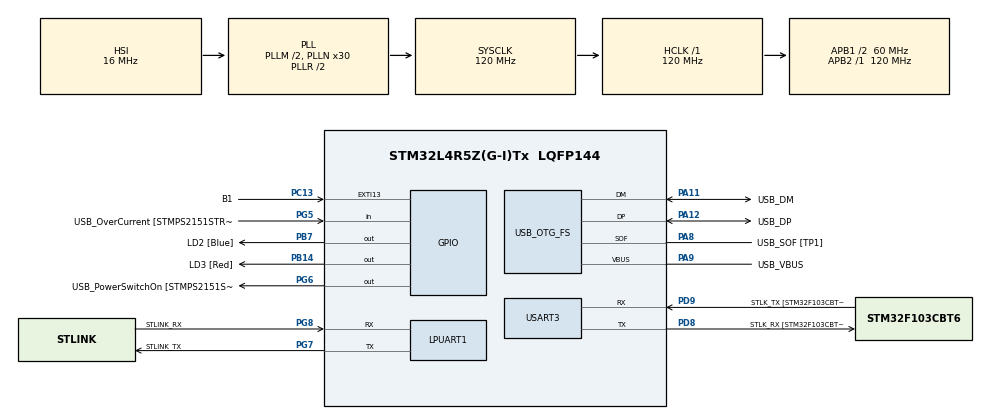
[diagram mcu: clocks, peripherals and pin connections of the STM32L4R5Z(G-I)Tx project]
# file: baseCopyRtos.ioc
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FREERTOS.Tasks01=defaultTask,24,128,StartDefaultTask,Default,NULL,Dynamic,NULL,NULL
Mcu.Family=STM32L4
Mcu.Name=STM32L4R5Z(G-I)Tx
Mcu.Package=LQFP144
NVIC.PriorityGroup=NVIC_PRIORITYGROUP_4
NVIC.TIM1_UP_TIM16_IRQn=true\:15\:0\:false\:false\:true\:false\:false\:true\:true
NVIC.TimeBase=TIM1_UP_TIM16_IRQn
NVIC.TimeBaseIP=TIM1
PA10.GPIO_Label=USB_ID
PA10.Signal=USB_OTG_FS_ID
PA11.GPIO_Label=USB_DM
PA11.Mode=Device_Only
PA11.Signal=USB_OTG_FS_DM
PA12.GPIO_Label=USB_DP
PA12.Mode=Device_Only
PA12.Signal=USB_OTG_FS_DP
PA13\ (JTMS/SWDIO).GPIO_Label=TMS
PA13\ (JTMS/SWDIO).Mode=Serial_Wire
PA13\ (JTMS/SWDIO).Signal=SYS_JTMS-SWDIO
PA14\ (JTCK/SWCLK).GPIO_Label=TCK
PA14\ (JTCK/SWCLK).Mode=Serial_Wire
PA14\ (JTCK/SWCLK).Signal=SYS_JTCK-SWCLK
PA8.GPIO_Label=USB_SOF [TP1]
PA8.Mode=Activate_SOF_FS
PA8.Signal=USB_OTG_FS_SOF
PA9.GPIO_Label=USB_VBUS
PA9.Mode=Activate_VBUS
PA9.Signal=USB_OTG_FS_VBUS
PB14.GPIO_Label=LD3 [Red]
PB14.Signal=GPIO_Output
PB3\ (JTDO/TRACESWO).GPIO_Label=SWO
PB3\ (JTDO/TRACESWO).Signal=SYS_JTDO-SWO
PB7.GPIO_Label=LD2 [Blue]
PB7.Signal=GPIO_Output
PC13.GPIO_Label=B1
PC13.Signal=GPXTI13
PC14-OSC32_IN\ (PC14).Signal=RCC_OSC32_IN
PC15-OSC32_OUT\ (PC15).Signal=RCC_OSC32_OUT
PD8.GPIO_Label=STLK_RX [STM32F103CBT6_PA3]
PD8.Mode=Asynchronous
PD8.Signal=USART3_TX
PD9.GPIO_Label=STLK_TX [STM32F103CBT6_PA2]
PD9.Mode=Asynchronous
PD9.Signal=USART3_RX
PG5.GPIO_Label=USB_OverCurrent [STMPS2151STR_FAULT]
PG5.Signal=GPIO_Input
PG6.GPIO_Label=USB_PowerSwitchOn [STMPS2151STR_EN]
PG6.Signal=GPIO_Output
PG7.GPIO_Label=STLINK_TX
PG7.Mode=Asynchronous
PG7.Signal=LPUART1_TX
PG8.GPIO_Label=STLINK_RX
PG8.Mode=Asynchronous
PG8.Signal=LPUART1_RX
PH0-OSC_IN\ (PH0).Signal=RCC_OSC_IN
PH1-OSC_OUT\ (PH1).Signal=RCC_OSC_OUT
ProjectManager.HeapSize=0x200
ProjectManager.StackSize=0x400
ProjectManager.TargetToolchain=STM32CubeIDE
RCC.48MHZClocksFreq_Value=24000000
RCC.ADCFreq_Value=96000000
RCC.AHBFreq_Value=120000000
RCC.APB1CLKDivider=RCC_HCLK_DIV2
RCC.APB1Freq_Value=60000000
RCC.APB1TimFreq_Value=120000000
RCC.APB2Freq_Value=120000000
RCC.APB2TimFreq_Value=120000000
RCC.CK48CLockSelection=RCC_USBCLKSOURCE_HSI48
RCC.CortexFreq_Value=120000000
RCC.HCLKFreq_Value=120000000
RCC.HSE_VALUE=8000000
RCC.HSI48_VALUE=48000000
RCC.HSI_VALUE=16000000
RCC.LSE_VALUE=32768
RCC.MSI_VALUE=4000000
RCC.PLLM1=2
RCC.PLLMUL=RCC_PLL_MUL9
RCC.PLLN=30
RCC.PLLSAI1N=12
RCC.PLLSourceVirtual=RCC_PLLSOURCE_HSI
RCC.PRESCALERUSB=RCC_USBCLKSOURCE_PLL_DIV1_5
RCC.SYSCLKFreq_VALUE=120000000
RCC.SYSCLKSource=RCC_SYSCLKSOURCE_PLLCLK
RCC.SYSCLKSourceVirtual=RCC_SYSCLKSOURCE_PLLCLK
RCC.USBFreq_Value=48000000
RCC.VCOOutputFreq_Value=240000000
USART3.VirtualMode-Asynchronous=VM_ASYNC
USB_OTG_FS.VirtualMode=Device_Only
VP_FREERTOS_VS_CMSIS_V2.Mode=CMSIS_V2
VP_SYS_VS_tim1.Mode=TIM1
board=NUCLEO-L4R5ZI

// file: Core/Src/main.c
/* USER CODE BEGIN Header */
/**
  ******************************************************************************
  * @file           : main.c
  * @brief          : Main program body
  ******************************************************************************
  * @attention
  *
  * Copyright (c) 2026 STMicroelectronics.
  * All rights reserved.
  *
  * This software is licensed under terms that can be found in the LICENSE file
  * in the root directory of this software component.
  * If no LICENSE file comes with this software, it is provided AS-IS.
  *
  ******************************************************************************
  * Add semihosting
  * https://community.st.com/t5/stm32-mcus/how-to-use-semihosting-with-stm32cubeide-and-stm32/ta-p/49742
  * * Remove or disable syscalls.c
  ******************************************************************************
  ******************************************************************************
  */

/* USER CODE END Header */
#include "main.h"
#include "cmsis_os.h"

/* USER CODE BEGIN Includes */
#include <stdio.h>
#include "bsp_leds.h"
/* USER CODE END Includes */

UART_HandleTypeDef hlpuart1;
UART_HandleTypeDef huart3;

PCD_HandleTypeDef hpcd_USB_OTG_FS;

/* Definitions for defaultTask */
osThreadId_t defaultTaskHandle;
const osThreadAttr_t defaultTask_attributes = {
  .name = "defaultTask",
  .stack_size = 128 * 4,
  .priority = (osPriority_t) osPriorityNormal,
};
/* USER CODE BEGIN PV */
/* Definitions for LED2Task */
osThreadId_t LED2TaskHandle;
const osThreadAttr_t LED2Task_attributes = {
  .name = "LED2Task",
  .stack_size = 128 * 4,
  .priority = (osPriority_t) osPriorityNormal,
};
/* Definitions for LED3Task */
osThreadId_t LED3TaskHandle;
const osThreadAttr_t LED3Task_attributes = {
  .name = "LED3Task",
  .stack_size = 128 * 4,
  .priority = (osPriority_t) osPriorityNormal,
};

/* USER CODE END PV */

void SystemClock_Config(void);
static void MX_GPIO_Init(void);
static void MX_LPUART1_UART_Init(void);
static void MX_USART3_UART_Init(void);
static void MX_USB_OTG_FS_PCD_Init(void);
void StartDefaultTask(void *argument);

/* USER CODE BEGIN PFP */
void LED2Task(void *argument);
void LED3Task(void *argument);
/* USER CODE END PFP */

/* USER CODE BEGIN 0 */
extern void initialise_monitor_handles(void);
/* USER CODE BEGIN Header_LED3Task */
/**
  * @brief  FreeRTOS Task: Blink LED3 every 1000ms
  * @param  argument: Task parameters (unused)
  * @retval None
  * @note   This task runs independently and can be preempted by higher priority tasks
  */
/* USER CODE END Header_LED3Task */
void LED3Task(void *argument)
{
  /* USER CODE BEGIN LED3Task */
       printf("Init LED3Task!\n");
  (void)argument;  /* Unused parameter */

  /* Infinite loop - task never exits */
  for(;;)
  {
    /* Toggle LED3 */
    BSP_LED_Toggle(BSP_LED3);

    /* Delay for 1000ms (non-blocking for other tasks) */
    vTaskDelay(500);
  }
  /* USER CODE END LED3Task */
}

/* USER CODE END Header_LED2Task */
void LED2Task(void *argument)
{
  /* USER CODE BEGIN LED3Task */
       printf("Init LED2Task!\n");
  (void)argument;  /* Unused parameter */

  /* Infinite loop - task never exits */
  for(;;)
  {
    /* Toggle LED2 */
    BSP_LED_Toggle(BSP_LED2);

    /* Delay for 1000ms (non-blocking for other tasks) */
    vTaskDelay(500);
  }
  /* USER CODE END LED3Task */
}

/* USER CODE END 0 */

int main(void)
{

  /* USER CODE BEGIN 1 */
	initialise_monitor_handles();
  /* USER CODE END 1 */

  /* MCU Configuration--------------------------------------------------------*/

  /* Reset of all peripherals, Initializes the Flash interface and the Systick. */
  HAL_Init();

  /* Configure the system clock */
  SystemClock_Config();

  /* Initialize all configured peripherals */
  MX_GPIO_Init();
  MX_LPUART1_UART_Init();
  MX_USART3_UART_Init();
  MX_USB_OTG_FS_PCD_Init();
  /* USER CODE BEGIN 2 */
  /* Initialize Board Support Package (LEDs) */
  BSP_LED_Init();
  /* USER CODE END 2 */

  /* Init scheduler */
  osKernelInitialize();

  /* Create the thread(s) */
  /* creation of defaultTask */
  defaultTaskHandle = osThreadNew(StartDefaultTask, NULL, &defaultTask_attributes);

  /* USER CODE BEGIN RTOS_THREADS */
  /* creation of LED2Task */
  LED2TaskHandle = osThreadNew(LED2Task, NULL, &LED2Task_attributes);
  /* creation of LED3Task */
  LED3TaskHandle = osThreadNew(LED3Task, NULL, &LED3Task_attributes);
  /* USER CODE END RTOS_THREADS */

  /* Start scheduler */
  osKernelStart();

  /* We should never get here as control is now taken by the scheduler */

  /* Infinite loop */
  while (1)
  {

  }
}

void SystemClock_Config(void)
{
  RCC_OscInitTypeDef RCC_OscInitStruct = {0};
  RCC_ClkInitTypeDef RCC_ClkInitStruct = {0};

  /** Configure the main internal regulator output voltage
  */
  if (HAL_PWREx_ControlVoltageScaling(PWR_REGULATOR_VOLTAGE_SCALE1_BOOST) != HAL_OK)
  {
    Error_Handler();
  }

  /** Initializes the RCC Oscillators according to the specified parameters
  * in the RCC_OscInitTypeDef structure.
  */
  RCC_OscInitStruct.OscillatorType = RCC_OSCILLATORTYPE_HSI48|RCC_OSCILLATORTYPE_HSI;
  RCC_OscInitStruct.HSIState = RCC_HSI_ON;
  RCC_OscInitStruct.HSI48State = RCC_HSI48_ON;
  RCC_OscInitStruct.HSICalibrationValue = RCC_HSICALIBRATION_DEFAULT;
  RCC_OscInitStruct.PLL.PLLState = RCC_PLL_ON;
  RCC_OscInitStruct.PLL.PLLSource = RCC_PLLSOURCE_HSI;
  RCC_OscInitStruct.PLL.PLLM = 2;
  RCC_OscInitStruct.PLL.PLLN = 30;
  RCC_OscInitStruct.PLL.PLLP = RCC_PLLP_DIV2;
  RCC_OscInitStruct.PLL.PLLQ = RCC_PLLQ_DIV2;
  RCC_OscInitStruct.PLL.PLLR = RCC_PLLR_DIV2;
  if (HAL_RCC_OscConfig(&RCC_OscInitStruct) != HAL_OK)
  {
    Error_Handler();
  }

  /** Initializes the CPU, AHB and APB buses clocks
  */
  RCC_ClkInitStruct.ClockType = RCC_CLOCKTYPE_HCLK|RCC_CLOCKTYPE_SYSCLK
                              |RCC_CLOCKTYPE_PCLK1|RCC_CLOCKTYPE_PCLK2;
  RCC_ClkInitStruct.SYSCLKSource = RCC_SYSCLKSOURCE_PLLCLK;
  RCC_ClkInitStruct.AHBCLKDivider = RCC_SYSCLK_DIV1;
  RCC_ClkInitStruct.APB1CLKDivider = RCC_HCLK_DIV2;
  RCC_ClkInitStruct.APB2CLKDivider = RCC_HCLK_DIV1;

  if (HAL_RCC_ClockConfig(&RCC_ClkInitStruct, FLASH_LATENCY_5) != HAL_OK)
  {
    Error_Handler();
  }
}

static void MX_LPUART1_UART_Init(void)
{

  hlpuart1.Instance = LPUART1;
  hlpuart1.Init.BaudRate = 209700;
  hlpuart1.Init.WordLength = UART_WORDLENGTH_7B;
  hlpuart1.Init.StopBits = UART_STOPBITS_1;
  hlpuart1.Init.Parity = UART_PARITY_NONE;
  hlpuart1.Init.Mode = UART_MODE_TX_RX;
  hlpuart1.Init.HwFlowCtl = UART_HWCONTROL_NONE;
  hlpuart1.Init.OneBitSampling = UART_ONE_BIT_SAMPLE_DISABLE;
  hlpuart1.Init.ClockPrescaler = UART_PRESCALER_DIV1;
  hlpuart1.AdvancedInit.AdvFeatureInit = UART_ADVFEATURE_NO_INIT;
  hlpuart1.FifoMode = UART_FIFOMODE_DISABLE;
  if (HAL_UART_Init(&hlpuart1) != HAL_OK)
  {
    Error_Handler();
  }
  if (HAL_UARTEx_SetTxFifoThreshold(&hlpuart1, UART_TXFIFO_THRESHOLD_1_8) != HAL_OK)
  {
    Error_Handler();
  }
  if (HAL_UARTEx_SetRxFifoThreshold(&hlpuart1, UART_RXFIFO_THRESHOLD_1_8) != HAL_OK)
  {
    Error_Handler();
  }
  if (HAL_UARTEx_DisableFifoMode(&hlpuart1) != HAL_OK)
  {
    Error_Handler();
  }

}

static void MX_USART3_UART_Init(void)
{

  huart3.Instance = USART3;
  huart3.Init.BaudRate = 115200;
  huart3.Init.WordLength = UART_WORDLENGTH_8B;
  huart3.Init.StopBits = UART_STOPBITS_1;
  huart3.Init.Parity = UART_PARITY_NONE;
  huart3.Init.Mode = UART_MODE_TX_RX;
  huart3.Init.HwFlowCtl = UART_HWCONTROL_NONE;
  huart3.Init.OverSampling = UART_OVERSAMPLING_16;
  huart3.Init.OneBitSampling = UART_ONE_BIT_SAMPLE_DISABLE;
  huart3.Init.ClockPrescaler = UART_PRESCALER_DIV1;
  huart3.AdvancedInit.AdvFeatureInit = UART_ADVFEATURE_NO_INIT;
  if (HAL_UART_Init(&huart3) != HAL_OK)
  {
    Error_Handler();
  }
  if (HAL_UARTEx_SetTxFifoThreshold(&huart3, UART_TXFIFO_THRESHOLD_1_8) != HAL_OK)
  {
    Error_Handler();
  }
  if (HAL_UARTEx_SetRxFifoThreshold(&huart3, UART_RXFIFO_THRESHOLD_1_8) != HAL_OK)
  {
    Error_Handler();
  }
  if (HAL_UARTEx_DisableFifoMode(&huart3) != HAL_OK)
  {
    Error_Handler();
  }

}

static void MX_USB_OTG_FS_PCD_Init(void)
{

  hpcd_USB_OTG_FS.Instance = USB_OTG_FS;
  hpcd_USB_OTG_FS.Init.dev_endpoints = 6;
  hpcd_USB_OTG_FS.Init.speed = PCD_SPEED_FULL;
  hpcd_USB_OTG_FS.Init.phy_itface = PCD_PHY_EMBEDDED;
  hpcd_USB_OTG_FS.Init.Sof_enable = ENABLE;
  hpcd_USB_OTG_FS.Init.low_power_enable = DISABLE;
  hpcd_USB_OTG_FS.Init.lpm_enable = DISABLE;
  hpcd_USB_OTG_FS.Init.battery_charging_enable = ENABLE;
  hpcd_USB_OTG_FS.Init.use_dedicated_ep1 = DISABLE;
  hpcd_USB_OTG_FS.Init.vbus_sensing_enable = ENABLE;
  if (HAL_PCD_Init(&hpcd_USB_OTG_FS) != HAL_OK)
  {
    Error_Handler();
  }

}

static void MX_GPIO_Init(void)
{
  GPIO_InitTypeDef GPIO_InitStruct = {0};

  /* GPIO Ports Clock Enable */
  __HAL_RCC_GPIOC_CLK_ENABLE();
  __HAL_RCC_GPIOH_CLK_ENABLE();
  __HAL_RCC_GPIOB_CLK_ENABLE();
  __HAL_RCC_GPIOD_CLK_ENABLE();
  __HAL_RCC_GPIOG_CLK_ENABLE();
  HAL_PWREx_EnableVddIO2();
  __HAL_RCC_GPIOA_CLK_ENABLE();

  /*Configure GPIO pin Output Level */
  HAL_GPIO_WritePin(GPIOB, LD3_Pin|LD2_Pin, GPIO_PIN_RESET);

  /*Configure GPIO pin Output Level */
  HAL_GPIO_WritePin(USB_PowerSwitchOn_GPIO_Port, USB_PowerSwitchOn_Pin, GPIO_PIN_RESET);

  /*Configure GPIO pin : B1_Pin */
  GPIO_InitStruct.Pin = B1_Pin;
  GPIO_InitStruct.Mode = GPIO_MODE_IT_RISING;
  GPIO_InitStruct.Pull = GPIO_NOPULL;
  HAL_GPIO_Init(B1_GPIO_Port, &GPIO_InitStruct);

  /*Configure GPIO pins : LD3_Pin LD2_Pin */
  GPIO_InitStruct.Pin = LD3_Pin|LD2_Pin;
  GPIO_InitStruct.Mode = GPIO_MODE_OUTPUT_PP;
  GPIO_InitStruct.Pull = GPIO_NOPULL;
  GPIO_InitStruct.Speed = GPIO_SPEED_FREQ_LOW;
  HAL_GPIO_Init(GPIOB, &GPIO_InitStruct);

  /*Configure GPIO pin : USB_OverCurrent_Pin */
  GPIO_InitStruct.Pin = USB_OverCurrent_Pin;
  GPIO_InitStruct.Mode = GPIO_MODE_INPUT;
  GPIO_InitStruct.Pull = GPIO_NOPULL;
  HAL_GPIO_Init(USB_OverCurrent_GPIO_Port, &GPIO_InitStruct);

  /*Configure GPIO pin : USB_PowerSwitchOn_Pin */
  GPIO_InitStruct.Pin = USB_PowerSwitchOn_Pin;
  GPIO_InitStruct.Mode = GPIO_MODE_OUTPUT_PP;
  GPIO_InitStruct.Pull = GPIO_NOPULL;
  GPIO_InitStruct.Speed = GPIO_SPEED_FREQ_LOW;
  HAL_GPIO_Init(USB_PowerSwitchOn_GPIO_Port, &GPIO_InitStruct);

}

void StartDefaultTask(void *argument)
{
  /* USER CODE BEGIN 5 */
	printf("Init StartDefaultTask!\n");
  (void)argument;  /* Unused parameter */

  /* Infinite loop - task never exits */
  for(;;)
  {
    /* Toggle LED2 */
    BSP_LED_Toggle(BSP_LED2);

    /* Delay for 1500ms (non-blocking for other tasks) */
    osDelay(1000);
  }
  /* USER CODE END 5 */
}

void HAL_TIM_PeriodElapsedCallback(TIM_HandleTypeDef *htim)
{
  if (htim->Instance == TIM1) {
    HAL_IncTick();
  }
}

void Error_Handler(void)
{
  __disable_irq();
  while (1)
  {
  }
}
